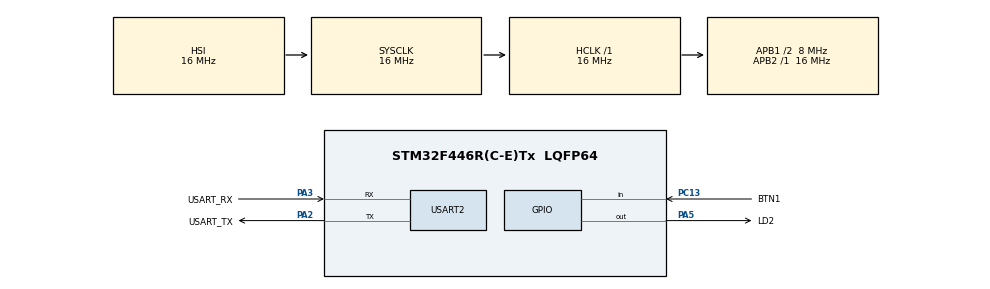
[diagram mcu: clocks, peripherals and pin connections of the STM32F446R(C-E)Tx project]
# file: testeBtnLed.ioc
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Mcu.Family=STM32F4
Mcu.Name=STM32F446R(C-E)Tx
Mcu.Package=LQFP64
NVIC.PriorityGroup=NVIC_PRIORITYGROUP_0
PA13.GPIO_Label=TMS
PA13.Mode=Serial_Wire
PA13.Signal=SYS_JTMS-SWDIO
PA14.GPIO_Label=TCK
PA14.Mode=Serial_Wire
PA14.Signal=SYS_JTCK-SWCLK
PA2.GPIO_Label=USART_TX
PA2.Mode=Asynchronous
PA2.Signal=USART2_TX
PA3.GPIO_Label=USART_RX
PA3.Mode=Asynchronous
PA3.Signal=USART2_RX
PA5.GPIO_Label=LD2
PA5.Signal=GPIO_Output
PB3.GPIO_Label=SWO
PB3.Signal=SYS_JTDO-SWO
PC13.GPIO_Label=BTN1
PC13.Signal=GPIO_Input
PC14-OSC32_IN.Mode=LSE-External-Oscillator
PC14-OSC32_IN.Signal=RCC_OSC32_IN
PC15-OSC32_OUT.Mode=LSE-External-Oscillator
PC15-OSC32_OUT.Signal=RCC_OSC32_OUT
PH0-OSC_IN.Mode=HSE-External-Oscillator
PH0-OSC_IN.Signal=RCC_OSC_IN
PH1-OSC_OUT.Mode=HSE-External-Oscillator
PH1-OSC_OUT.Signal=RCC_OSC_OUT
ProjectManager.HeapSize=0x200
ProjectManager.StackSize=0x400
ProjectManager.TargetToolchain=STM32CubeIDE
RCC.48MHZClocksFreq_Value=84000000
RCC.AHBFreq_Value=16000000
RCC.APB1CLKDivider=RCC_HCLK_DIV2
RCC.APB1Freq_Value=8000000
RCC.APB1TimFreq_Value=16000000
RCC.APB2Freq_Value=16000000
RCC.APB2TimFreq_Value=16000000
RCC.CortexFreq_Value=16000000
RCC.FLatency-AdvancedSettings=FLASH_LATENCY_0
RCC.HCLKFreq_Value=16000000
RCC.HSE_VALUE=8000000
RCC.HSI_VALUE=16000000
RCC.PLLN=336
RCC.PLLP=RCC_PLLP_DIV4
RCC.SYSCLKFreq_VALUE=16000000
RCC.USBFreq_Value=168000000
RCC.VCOOutputFreq_Value=336000000
USART2.VirtualMode=VM_ASYNC
board=NUCLEO-F446RE

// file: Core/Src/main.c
/* USER CODE BEGIN Header */
/**
  ******************************************************************************
  * @file           : main.c
  * @brief          : Main program body
  ******************************************************************************
  * @attention
  *
  * Copyright (c) 2025 STMicroelectronics.
  * All rights reserved.
  *
  * This software is licensed under terms that can be found in the LICENSE file
  * in the root directory of this software component.
  * If no LICENSE file comes with this software, it is provided AS-IS.
  *
  ******************************************************************************
  */
/* USER CODE END Header */
#include "main.h"
#include "usart.h"
#include "gpio.h"

/* USER CODE BEGIN Includes */
#include <stdio.h>
#include <string.h>
/* USER CODE END Includes */

/* USER CODE BEGIN PV */
static char msg1[] = "Teste do Botão e Led\r\n";
static char msg2[] = "Led ligado\r\n";
static char msg3[] = "Led desligado\r\n";
static uint8_t btnFlag = 0;
/* USER CODE END PV */

void SystemClock_Config(void);

int main(void)
{

  /* MCU Configuration--------------------------------------------------------*/

  /* Reset of all peripherals, Initializes the Flash interface and the Systick. */
  HAL_Init();

  /* Configure the system clock */
  SystemClock_Config();

  /* Initialize all configured peripherals */
  MX_GPIO_Init();
  MX_USART2_UART_Init();
  /* USER CODE BEGIN 2 */
  HAL_UART_Transmit(&huart2, (uint8_t*) msg1, (uint16_t) strlen(msg1), 100);
  /* USER CODE END 2 */

  /* Infinite loop */
  /* USER CODE BEGIN WHILE */
  while (1)
  {
	  uint8_t btnRead;
	  static uint8_t flagAtivo = 0;

	  btnRead = HAL_GPIO_ReadPin(BTN1_GPIO_Port, BTN1_Pin);
	  HAL_Delay(20);

	  if((btnRead == GPIO_PIN_RESET) && (flagAtivo == 0)){
		  btnFlag = !btnFlag;
		  flagAtivo = 1;
	  }

	  if((btnFlag == GPIO_PIN_SET) && (flagAtivo == 1))
	  {
		  HAL_GPIO_WritePin(LD2_GPIO_Port, LD2_Pin, GPIO_PIN_SET);
		  HAL_UART_Transmit(&huart2, (uint8_t *) msg2, (uint16_t) strlen(msg2), 100);
		  flagAtivo = 0;
	  }

	  if((btnFlag == GPIO_PIN_RESET) && (flagAtivo == 1))
	  {
		  HAL_GPIO_WritePin(LD2_GPIO_Port, LD2_Pin, GPIO_PIN_RESET);
		  HAL_UART_Transmit(&huart2, (uint8_t *) msg3, (uint16_t) strlen(msg3), 100);
		  flagAtivo = 0;
	  }

    /* USER CODE END WHILE */

  }
}

void SystemClock_Config(void)
{
  RCC_OscInitTypeDef RCC_OscInitStruct = {0};
  RCC_ClkInitTypeDef RCC_ClkInitStruct = {0};

  /** Configure the main internal regulator output voltage
  */
  __HAL_RCC_PWR_CLK_ENABLE();
  __HAL_PWR_VOLTAGESCALING_CONFIG(PWR_REGULATOR_VOLTAGE_SCALE3);

  /** Initializes the RCC Oscillators according to the specified parameters
  * in the RCC_OscInitTypeDef structure.
  */
  RCC_OscInitStruct.OscillatorType = RCC_OSCILLATORTYPE_HSI;
  RCC_OscInitStruct.HSIState = RCC_HSI_ON;
  RCC_OscInitStruct.HSICalibrationValue = RCC_HSICALIBRATION_DEFAULT;
  RCC_OscInitStruct.PLL.PLLState = RCC_PLL_NONE;
  if (HAL_RCC_OscConfig(&RCC_OscInitStruct) != HAL_OK)
  {
    Error_Handler();
  }

  /** Initializes the CPU, AHB and APB buses clocks
  */
  RCC_ClkInitStruct.ClockType = RCC_CLOCKTYPE_HCLK|RCC_CLOCKTYPE_SYSCLK
                              |RCC_CLOCKTYPE_PCLK1|RCC_CLOCKTYPE_PCLK2;
  RCC_ClkInitStruct.SYSCLKSource = RCC_SYSCLKSOURCE_HSI;
  RCC_ClkInitStruct.AHBCLKDivider = RCC_SYSCLK_DIV1;
  RCC_ClkInitStruct.APB1CLKDivider = RCC_HCLK_DIV2;
  RCC_ClkInitStruct.APB2CLKDivider = RCC_HCLK_DIV1;

  if (HAL_RCC_ClockConfig(&RCC_ClkInitStruct, FLASH_LATENCY_0) != HAL_OK)
  {
    Error_Handler();
  }
}

void Error_Handler(void)
{
  __disable_irq();
  while (1)
  {
  }
}
